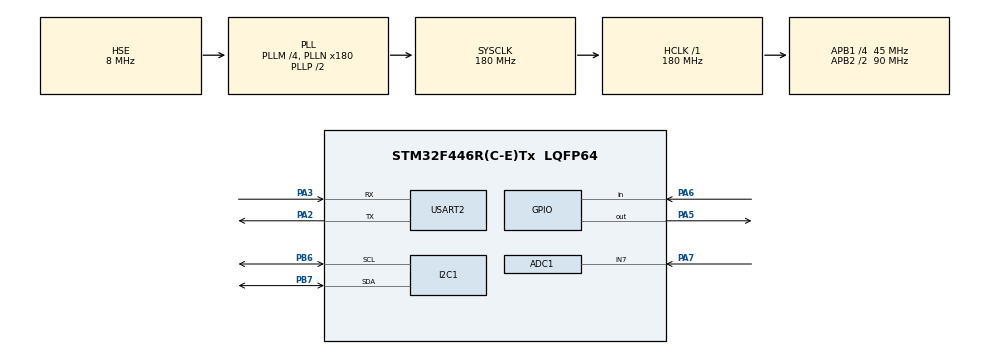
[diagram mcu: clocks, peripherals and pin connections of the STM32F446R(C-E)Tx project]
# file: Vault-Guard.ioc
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ADC1.Channel-2\#ChannelRegularConversion=ADC_CHANNEL_7
ADC1.NbrOfConversionFlag=1
ADC1.Rank-2\#ChannelRegularConversion=1
ADC1.SamplingTime-2\#ChannelRegularConversion=ADC_SAMPLETIME_3CYCLES
ADC1.master=1
Mcu.Family=STM32F4
Mcu.Name=STM32F446R(C-E)Tx
Mcu.Package=LQFP64
NVIC.PriorityGroup=NVIC_PRIORITYGROUP_0
PA2.Mode=Asynchronous
PA2.Signal=USART2_TX
PA3.Mode=Asynchronous
PA3.Signal=USART2_RX
PA5.Signal=GPIO_Output
PA6.Signal=GPIO_Input
PA7.Signal=ADCx_IN7
PB6.Mode=I2C
PB6.Signal=I2C1_SCL
PB7.Mode=I2C
PB7.Signal=I2C1_SDA
PH0-OSC_IN.Mode=HSE-External-Oscillator
PH0-OSC_IN.Signal=RCC_OSC_IN
PH1-OSC_OUT.Mode=HSE-External-Oscillator
PH1-OSC_OUT.Signal=RCC_OSC_OUT
ProjectManager.HeapSize=0x200
ProjectManager.StackSize=0x400
ProjectManager.TargetToolchain=MDK-ARM V5.32
RCC.AHBFreq_Value=180000000
RCC.APB1CLKDivider=RCC_HCLK_DIV4
RCC.APB1Freq_Value=45000000
RCC.APB1TimFreq_Value=90000000
RCC.APB2CLKDivider=RCC_HCLK_DIV2
RCC.APB2Freq_Value=90000000
RCC.APB2TimFreq_Value=180000000
RCC.CortexFreq_Value=180000000
RCC.FLatency-AdvancedSettings=FLASH_LATENCY_5
RCC.HCLKFreq_Value=180000000
RCC.HSE_VALUE=8000000
RCC.HSI_VALUE=16000000
RCC.LSE_VALUE=32768
RCC.PLLM=4
RCC.PLLN=180
RCC.PLLSourceVirtual=RCC_PLLSOURCE_HSE
RCC.SYSCLKFreq_VALUE=180000000
RCC.SYSCLKSource=RCC_SYSCLKSOURCE_PLLCLK
RCC.USBFreq_Value=180000000
RCC.VCOOutputFreq_Value=360000000
SH.ADCx_IN7.0=ADC1_IN7,IN7
USART2.VirtualMode=VM_ASYNC
board=NUCLEO-F446RE

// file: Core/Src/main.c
#include "main.h"

/* USER CODE BEGIN Includes */
#include "pn532_stm32f4.h"
#include "rfid_helper.h"
#include <string.h>
#include <stdio.h>
/* USER CODE END Includes */

ADC_HandleTypeDef hadc1;
I2C_HandleTypeDef hi2c1;
UART_HandleTypeDef huart2;
PN532 pn532;

/* USER CODE BEGIN PD */
#define VIB_THRESHOLD_SOFT  4050
#define VIB_THRESHOLD_HARD  4050
#define VALID_WINDOW_MS     20000
/* USER CODE END PD */

/* USER CODE BEGIN PV */
const size_t num_records = 2;
/* USER CODE END PV */

/* Function prototypes */
void SystemClock_Config(void);
static void MX_GPIO_Init(void);
static void MX_I2C1_Init(void);
static void MX_USART2_UART_Init(void);
static void MX_ADC1_Init(void);

/* USER CODE BEGIN PFP */

void print(const char *msg) {
    HAL_UART_Transmit(&huart2, (uint8_t *)msg, strlen(msg), HAL_MAX_DELAY);
}

static uint32_t read_vibration_raw(void) {
    HAL_ADC_Start(&hadc1);
    HAL_ADC_PollForConversion(&hadc1, HAL_MAX_DELAY);
    uint32_t val = HAL_ADC_GetValue(&hadc1);
    HAL_ADC_Stop(&hadc1);
    return val;
}

static uint8_t read_ldr(void) {
    return (HAL_GPIO_ReadPin(GPIOA, GPIO_PIN_6) == GPIO_PIN_RESET) ? 1 : 0;
}

static void set_alarm(uint8_t on) {
    HAL_GPIO_WritePin(GPIOA, GPIO_PIN_5, on ? GPIO_PIN_SET : GPIO_PIN_RESET);
}

static void i2c_recover(void) {
    HAL_I2C_DeInit(&hi2c1);
    HAL_Delay(5);
    MX_I2C1_Init();
    PN532_Init(&pn532);
}

/* USER CODE END PFP */

int main(void) {

    uint8_t  fw_buf[255];
    uint8_t  uid[MIFARE_UID_MAX_LENGTH] = {0};
    int32_t  uid_len = 0;
    uint32_t valid_window_start = 0;
    uint8_t  window_active = 0;

    rfid_record_t records[2] = {
        {{0x89, 0xA2, 0xCD, 0x59}, 4, "Blue Tag"},
        {{0x3A, 0xDD, 0xEA, 0x3F}, 4, "Card!"}
    };

    HAL_Init();
    SystemClock_Config();
    MX_GPIO_Init();
    MX_I2C1_Init();
    MX_USART2_UART_Init();
    MX_ADC1_Init();

    PN532_Init(&pn532);

    if (PN532_GetFirmwareVersion(&pn532, fw_buf) == PN532_STATUS_OK) {
        print("Vault Guard Ready\r\n");
    } else {
        print("PN532 Init Failed!\r\n");
        return -1;
    }

    PN532_SamConfiguration(&pn532);
    set_alarm(0);

// Add these ABOVE while(1)
// Add these ABOVE while(1)
uint8_t access_granted = 0;
uint32_t access_start_time = 0;
uint8_t last_printed_sec = 0;
uint32_t last_rfid_prompt = 0;

while (1)
{

    uint32_t vib_raw  = read_vibration_raw();
    uint8_t  ldr      = read_ldr();
	//char dbg[30];
	//sprintf(dbg,"VIB: %lu", vib_raw);
	//print(dbg);

    uint8_t vib_trigger = (vib_raw < VIB_THRESHOLD_SOFT);  // corrected logic

    // =========================================================
    // -------- STATE 1: IDLE (WAITING FOR RFID) --------
    // =========================================================
    if (!access_granted)
    {
        // -------- PROMPT USER --------
        if ((HAL_GetTick() - last_rfid_prompt) >= 1000)
        {
static uint8_t dot_count = 0;
    char anim_msg[15];

    // Clear the line and print "Scan RFID" with trailing dots
    // The spaces at the end ensure old dots are erased when resetting
    switch(dot_count) {
        case 0: sprintf(anim_msg, "\rScan RFID    "); break;
        case 1: sprintf(anim_msg, "\rScan RFID.   "); break;
        case 2: sprintf(anim_msg, "\rScan RFID..  "); break;
        case 3: sprintf(anim_msg, "\rScan RFID... "); break;
    }

    print(anim_msg);

    dot_count = (dot_count + 1) % 4; // Cycle 0, 1, 2, 3
    last_rfid_prompt = HAL_GetTick();        }

        // -------- INTRUSION CHECK --------
        if (ldr || vib_trigger)
        {
            print("\rINTRUSION\r\n");
            set_alarm(1);
            while (1); // stop system
        }

        // -------- RFID READ --------
        memset(uid, 0, sizeof(uid));
        uid_len = PN532_ReadPassiveTarget(&pn532, uid, PN532_MIFARE_ISO14443A, 100);

        if (uid_len > 0)
        {
            uint8_t valid = 0;

            for (int i = 0; i < (int)num_records; i++)
            {
                if (uid_len == records[i].uid_len &&
                    memcmp(uid, records[i].uid, records[i].uid_len) == 0)
                {
                    valid = 1;
                    break;
                }
            }

            if (valid)
            {
                print("\rValid RFID - Access Started\r\n");
                set_alarm(0);

                access_granted = 1;
                access_start_time = HAL_GetTick();
                last_printed_sec = 0;
            }
            else
            {
                print("\rInvalid RFID\r\n");
							HAL_Delay(2000);
            }
        }
    }

    // =========================================================
    // -------- STATE 2: ACCESS WINDOW (15 sec) --------
    // =========================================================
    else
    {
        uint32_t elapsed_sec = (HAL_GetTick() - access_start_time) / 1000;

        // -------- PRINT TIMER --------
        if (elapsed_sec > last_printed_sec && elapsed_sec <= 15)
        {
            char msg[32];
            sprintf(msg, "\rTime: %lu sec\r", elapsed_sec);
            print(msg);

            last_printed_sec = elapsed_sec;
        }

        // -------- LDR DETECTION --------
        if (ldr)
        {
            print("Locker Open\r\n");

            // Wait until light disappears
            while (read_ldr())
            {
                HAL_Delay(100);
            }

            print("Locker Closed\r\n");
						HAL_Delay(5000);
            access_granted = 0;
            last_printed_sec = 0;
        }

        // -------- TIMEOUT --------
        else if ((HAL_GetTick() - access_start_time) >= 15000)
        {
            print("Access Timeout\r\n");

            access_granted = 0;
            last_printed_sec = 0;
        }
    }

    HAL_Delay(100);
}}

void SystemClock_Config(void) {
    RCC_OscInitTypeDef RCC_OscInitStruct = {0};
    RCC_ClkInitTypeDef RCC_ClkInitStruct = {0};

    __HAL_RCC_PWR_CLK_ENABLE();
    __HAL_PWR_VOLTAGESCALING_CONFIG(PWR_REGULATOR_VOLTAGE_SCALE1);

    RCC_OscInitStruct.OscillatorType = RCC_OSCILLATORTYPE_HSE;
    RCC_OscInitStruct.HSEState       = RCC_HSE_ON;
    RCC_OscInitStruct.PLL.PLLState   = RCC_PLL_ON;
    RCC_OscInitStruct.PLL.PLLSource  = RCC_PLLSOURCE_HSE;
    RCC_OscInitStruct.PLL.PLLM       = 4;
    RCC_OscInitStruct.PLL.PLLN       = 180;
    RCC_OscInitStruct.PLL.PLLP       = RCC_PLLP_DIV2;
    RCC_OscInitStruct.PLL.PLLQ       = 2;
    RCC_OscInitStruct.PLL.PLLR       = 2;
    if (HAL_RCC_OscConfig(&RCC_OscInitStruct) != HAL_OK) Error_Handler();

    if (HAL_PWREx_EnableOverDrive() != HAL_OK) Error_Handler();

    RCC_ClkInitStruct.ClockType      = RCC_CLOCKTYPE_HCLK | RCC_CLOCKTYPE_SYSCLK |
                                       RCC_CLOCKTYPE_PCLK1 | RCC_CLOCKTYPE_PCLK2;
    RCC_ClkInitStruct.SYSCLKSource   = RCC_SYSCLKSOURCE_PLLCLK;
    RCC_ClkInitStruct.AHBCLKDivider  = RCC_SYSCLK_DIV1;
    RCC_ClkInitStruct.APB1CLKDivider = RCC_HCLK_DIV4;
    RCC_ClkInitStruct.APB2CLKDivider = RCC_HCLK_DIV2;
    if (HAL_RCC_ClockConfig(&RCC_ClkInitStruct, FLASH_LATENCY_5) != HAL_OK) Error_Handler();
}

static void MX_ADC1_Init(void) {
    ADC_ChannelConfTypeDef sConfig = {0};

    hadc1.Instance                   = ADC1;
    hadc1.Init.ClockPrescaler        = ADC_CLOCK_SYNC_PCLK_DIV4;
    hadc1.Init.Resolution            = ADC_RESOLUTION_12B;
    hadc1.Init.ScanConvMode          = DISABLE;
    hadc1.Init.ContinuousConvMode    = DISABLE;
    hadc1.Init.DiscontinuousConvMode = DISABLE;
    hadc1.Init.ExternalTrigConvEdge  = ADC_EXTERNALTRIGCONVEDGE_NONE;
    hadc1.Init.ExternalTrigConv      = ADC_SOFTWARE_START;
    hadc1.Init.DataAlign             = ADC_DATAALIGN_RIGHT;
    hadc1.Init.NbrOfConversion       = 1;
    hadc1.Init.DMAContinuousRequests = DISABLE;
    hadc1.Init.EOCSelection          = ADC_EOC_SINGLE_CONV;
    if (HAL_ADC_Init(&hadc1) != HAL_OK) Error_Handler();

    // PA7 = ADC1 Channel 7 (vibration sensor)
    sConfig.Channel      = ADC_CHANNEL_7;
    sConfig.Rank         = 1;
    sConfig.SamplingTime = ADC_SAMPLETIME_3CYCLES;
    if (HAL_ADC_ConfigChannel(&hadc1, &sConfig) != HAL_OK) Error_Handler();
}

static void MX_I2C1_Init(void) {
    hi2c1.Instance             = I2C1;
    hi2c1.Init.ClockSpeed      = 100000;
    hi2c1.Init.DutyCycle       = I2C_DUTYCYCLE_2;
    hi2c1.Init.OwnAddress1     = 0;
    hi2c1.Init.AddressingMode  = I2C_ADDRESSINGMODE_7BIT;
    hi2c1.Init.DualAddressMode = I2C_DUALADDRESS_DISABLE;
    hi2c1.Init.OwnAddress2     = 0;
    hi2c1.Init.GeneralCallMode = I2C_GENERALCALL_DISABLE;
    hi2c1.Init.NoStretchMode   = I2C_NOSTRETCH_DISABLE;
    if (HAL_I2C_Init(&hi2c1) != HAL_OK) Error_Handler();
}

static void MX_USART2_UART_Init(void) {
    huart2.Instance          = USART2;
    huart2.Init.BaudRate     = 115200;
    huart2.Init.WordLength   = UART_WORDLENGTH_8B;
    huart2.Init.StopBits     = UART_STOPBITS_1;
    huart2.Init.Parity       = UART_PARITY_NONE;
    huart2.Init.Mode         = UART_MODE_TX_RX;
    huart2.Init.HwFlowCtl    = UART_HWCONTROL_NONE;
    huart2.Init.OverSampling = UART_OVERSAMPLING_16;
    if (HAL_UART_Init(&huart2) != HAL_OK) Error_Handler();
}

static void MX_GPIO_Init(void) {
    GPIO_InitTypeDef GPIO_InitStruct = {0};

    __HAL_RCC_GPIOH_CLK_ENABLE();
    __HAL_RCC_GPIOA_CLK_ENABLE();
    __HAL_RCC_GPIOB_CLK_ENABLE();

    // PA5 = Alarm output (LED/Buzzer)
    HAL_GPIO_WritePin(GPIOA, GPIO_PIN_5, GPIO_PIN_RESET);
    GPIO_InitStruct.Pin   = GPIO_PIN_5;
    GPIO_InitStruct.Mode  = GPIO_MODE_OUTPUT_PP;
    GPIO_InitStruct.Pull  = GPIO_NOPULL;
    GPIO_InitStruct.Speed = GPIO_SPEED_FREQ_LOW;
    HAL_GPIO_Init(GPIOA, &GPIO_InitStruct);

    // PA6 = LDR digital input
    GPIO_InitStruct.Pin  = GPIO_PIN_6;
    GPIO_InitStruct.Mode = GPIO_MODE_INPUT;
    GPIO_InitStruct.Pull = GPIO_NOPULL;
    HAL_GPIO_Init(GPIOA, &GPIO_InitStruct);

    // PA7 = Vibration sensor analog input for ADC
    GPIO_InitStruct.Pin  = GPIO_PIN_7;
    GPIO_InitStruct.Mode = GPIO_MODE_ANALOG;
    GPIO_InitStruct.Pull = GPIO_NOPULL;
    HAL_GPIO_Init(GPIOA, &GPIO_InitStruct);
}

void Error_Handler(void) {
    __disable_irq();
    while (1) {}
}
